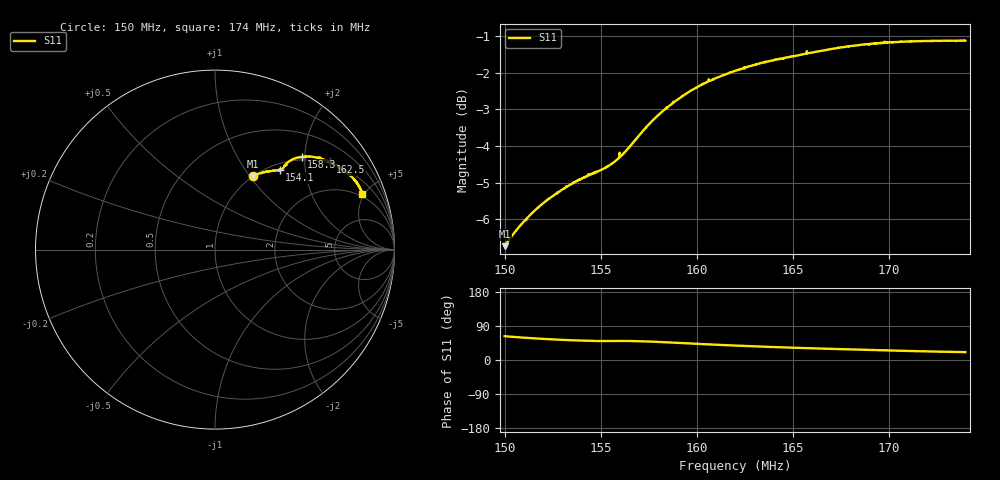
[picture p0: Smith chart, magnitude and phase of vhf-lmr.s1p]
! Calibrated averaged scanner-service zoom
# Hz S RI R 50
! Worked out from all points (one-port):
!   2001 points, 150 MHz to 174 MHz, reference 50 ohm
!   lowest |S11| = -6.7 dB at 150 MHz (marker M1), VSWR 2.71, Z = 49.8 + j51.8 ohm
!   |S11| at or under -10 dB: nowhere
!   S11 on the Smith chart (normalised r, x): 150 MHz: 1.00, +1.04; 154.1 MHz: 1.11, +1.46; 158.3 MHz: 0.94, +1.94; 162.5 MHz: 0.96, +2.66; 174 MHz: 1.77, +4.83
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1.5e8  0.2109 0.4096
1.5072e8  0.2442 0.4226
1.5144e8  0.2746 0.4314
1.5216e8  0.3026 0.4364
1.53e8  0.3303 0.4401
1.53624e8  0.3483 0.4422
1.54116e8  0.3599 0.4433
1.54632e8  0.3703 0.4459
1.55172e8  0.3775 0.4508
1.55592e8  0.3825 0.4582
1.56e8  0.3941 0.4708
1.56408e8  0.3991 0.4807
1.56876e8  0.4165 0.4944
1.57524e8  0.4455 0.5082
1.5834e8  0.4836 0.5167
1.59e8  0.5133 0.5187
1.59612e8  0.5404 0.5173
1.60524e8  0.5777 0.5104
1.62e8  0.6283 0.493
1.62492e8  0.6407 0.4865
1.63572e8  0.6736 0.4709
1.65e8  0.7054 0.449
1.66464e8  0.7351 0.4279
1.68e8  0.7631 0.404
1.69704e8  0.7872 0.3757
1.71e8  0.801 0.3542
1.72584e8  0.8135 0.33
1.74e8  0.8213 0.3114
